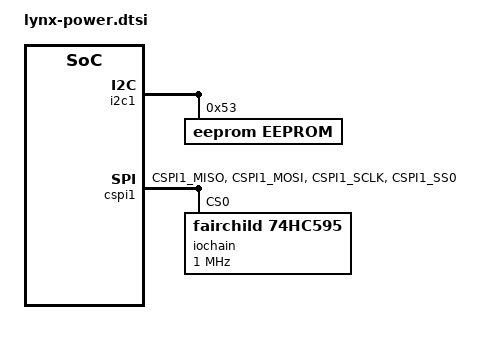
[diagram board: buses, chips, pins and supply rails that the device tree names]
&i2c1 {
	eeprom@53 {
		compatible = "eeprom,eeprom";
		reg = <0x53>;
	};
};

&cspi1 {
	status = "okay";
	pinctrl-names = "default";
	pinctrl-0 = <&pinctrl_cspi1>;
	fsl,spi-num-chipselects = <1>;

        iochain: gpio-expander@0 {
		compatible = "fairchild,74hc595";
		reg = <0>;
		spi-max-frequency = <1000000>;
	        gpio-controller;
	        #gpio-cells = <2>;

		/* TODO: Second device is an input register, but
		existing driver only supports chaining multiple output
		registers. This means we have no way of reading
		dc1/dc2 or relay input at the moment. */
		registers-number = <2>;
	};
};

&pinctrls {
	pinctrl_cspi1: cspi1grp {
		fsl,pins = <
		MX27_PAD_CSPI1_MISO__CSPI1_MISO 0x0
		MX27_PAD_CSPI1_MOSI__CSPI1_MOSI 0x0
		MX27_PAD_CSPI1_SCLK__CSPI1_SCLK 0x0
		MX27_PAD_CSPI1_SS0__CSPI1_SS0	0x0
		>;
	};
};

/ {
	gpio-leds {
		frnt-green {
			label = "basis:green:frnt";
                        gpios = <&iochain 0 GPIO_ACTIVE_LOW>;
                        default-state = "off";
		};
		frnt-red {
			label = "basis:red:frnt";
                        gpios = <&iochain 1 GPIO_ACTIVE_LOW>;
                        default-state = "off";
		};
		rstp-green {
			label = "basis:green:rstp";
                        gpios = <&iochain 2 GPIO_ACTIVE_LOW>;
                        default-state = "off";
		};
		rstp-red {
			label = "basis:red:rstp";
                        gpios = <&iochain 3 GPIO_ACTIVE_LOW>;
                        default-state = "off";
		};
		usr1-green {
			label = "basis:green:usr1";
                        gpios = <&iochain 4 GPIO_ACTIVE_LOW>;
                        default-state = "off";
		};
		usr1-red {
			label = "basis:red:usr1";
                        gpios = <&iochain 5 GPIO_ACTIVE_LOW>;
                        default-state = "off";
		};
	};
};
